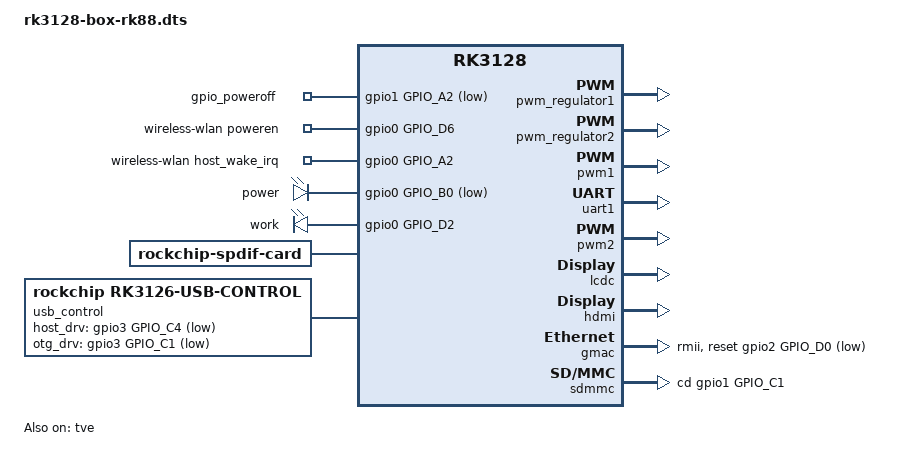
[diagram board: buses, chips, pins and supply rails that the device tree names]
/dts-v1/;

#include "rk3128.dtsi"
#include "rk312x-sdk.dtsi"
#include "lcd-box.dtsi"
#include <dt-bindings/input/input.h>

/ {
	 compatible = "rockchip,rk3128";

	 gpio_poweroff {
		compatible = "gpio-poweroff";
		gpios = <&gpio1 GPIO_A2 GPIO_ACTIVE_LOW>;
	};
	wireless-wlan {
		compatible = "wlan-platdata";

		/* wifi_chip_type - wifi chip define
		* bcmwifi ==> like ap6xxx, rk90x, ...;
		* rtkwifi ==> like rtl8188xx, rtl8723xx, ...;
		* esp8089 ==> esp8089;
		* other   ==> for other wifi;
		*/
		wifi_chip_type = "esp8089";
		sdio_vref = <0>; //1800mv or 3300mv

		//keep_wifi_power_on;
		//power_ctrl_by_pmu;
		//power_pmu_regulator = "act_ldo3";
		//power_pmu_enable_level = <1>; //1->HIGH, 0->LOW

		//vref_ctrl_enable;
		//vref_ctrl_gpio = <&gpio0 GPIO_A2 GPIO_ACTIVE_HIGH>;
		//vref_pmu_regulator = "act_ldo3";
		//vref_pmu_enable_level = <1>; //1->HIGH, 0->LOW

		WIFI,poweren_gpio = <&gpio0 GPIO_D6 GPIO_ACTIVE_HIGH>;
		WIFI,host_wake_irq = <&gpio0 GPIO_A2 GPIO_ACTIVE_HIGH>;
		//WIFI,reset_gpio = <&gpio0 GPIO_A2 GPIO_ACTIVE_LOW>;

		status = "okay";
	};

	wireless-bluetooth {
		compatible = "bluetooth-platdata";

		//wifi-bt-power-toggle;

		uart_rts_gpios = <&gpio1 GPIO_B3 GPIO_ACTIVE_LOW>;
		pinctrl-names = "default","rts_gpio";
		pinctrl-0 = <&uart1_rts>;
		pinctrl-1 = <&uart1_rts_gpio>;

		//BT,power_gpio = <&gpio4 GPIO_D3 GPIO_ACTIVE_HIGH>;
		BT,reset_gpio = <&gpio3 GPIO_C5 GPIO_ACTIVE_HIGH>;
		BT,wake_gpio = <&gpio1 GPIO_B4 GPIO_ACTIVE_HIGH>;
		BT,wake_host_irq = <&gpio0 GPIO_C6 GPIO_ACTIVE_LOW>;

	        status = "disabled";
	};

	power-led {
		compatible = "gpio-leds";
		power {
			gpios = <&gpio0 GPIO_B0 GPIO_ACTIVE_LOW>;
			default-state = "on";
		};
		work {
			gpios = <&gpio0 GPIO_D2 GPIO_ACTIVE_HIGH>;
			default-state = "on";
		};
	};

	rockchip-spdif-card {
		compatible = "rockchip-spdif-card";
		dais {
			dai0 {
				audio-codec = <&codec_hdmi_spdif>;
				audio-controller = <&spdif>;
			};
		};
	};

	usb_control {
		compatible = "rockchip,rk3126-usb-control";
		host_drv_gpio = <&gpio3 GPIO_C4 GPIO_ACTIVE_LOW>;
		otg_drv_gpio = <&gpio3 GPIO_C1 GPIO_ACTIVE_LOW>;

		rockchip,remote_wakeup;
		rockchip,usb_irq_wakeup;
	};
		usb0: usb@10180000 {
		/*0 - Normal, 1 - Force Host, 2 - Force Device*/
		rockchip,usb-mode = <1>;
	};

	rockchip_suspend: rockchip_suspend {
                rockchip,ctrbits = <
                        (0
                        |RKPM_CTR_PWR_DMNS
                        |RKPM_CTR_GTCLKS
                        |RKPM_CTR_PLLS
                        //|RKPM_CTR_ARMOFF_LPMD
                        |RKPM_CTR_DDR
                        |RKPM_CTR_IDLESRAM_MD
                        |RKPM_CTR_DDR
                        //|RKPM_CTR_BUS_IDLE
			//|RKPM_CTR_VOLTS
			//|RKPM_CTR_VOL_PWM1
			//|RKPM_CTR_VOL_PWM2
                        )
                >;
               rockchip,pmic-suspend_gpios = <
                       0
                        >;
        };

};


	&clk_core_dvfs_table {
		operating-points = <
			/* KHz    uV */
			/*408000 1250000
			600000 1250000
			696000 1250000
			*/
			816000 1100000
			1008000 1200000
			1200000 1325000
			>;
			virt-temp-limit-1-cpu-busy = <
			/* target-temp	limit-freq */
				75	1008000
				85	1200000
				95	1200000
				100	1200000
				>;
			virt-temp-limit-2-cpu-busy = <
			/* target-temp	limit-freq */
				75	912000
				85	1008000
				95	1104000
				100	1200000
				>;
			virt-temp-limit-3-cpu-busy = <
			/* target-temp	limit-freq */
				75	816000
				85	912000
				95	100800
				100	110400
				>;
			virt-temp-limit-4-cpu-busy = <
			/* target-temp	limit-freq */
				75	696000
				85	816000
				95	912000
				100	100800
				>;
			temp-limit-enable = <1>;
			target-temp = <85>;
		status="okay";
	};

	&clk_gpu_dvfs_table {
		operating-points = <
			/* KHz    uV */
			200000 950000
			300000 975000
			400000 1075000
			>;
		status="okay";
	};

	&clk_ddr_dvfs_table {
		operating-points = <
			/* KHz    uV */
			200000 950000
			300000 950000
			400000 1000000
			533000 1200000
			>;

		freq-table = <
			/*status		freq(KHz)*/
			SYS_STATUS_NORMAL	533000
			SYS_STATUS_SUSPEND	200000
			/*
			SYS_STATUS_VIDEO_1080P  240000
			SYS_STATUS_VIDEO_4K     400000
			SYS_STATUS_PERFORMANCE  528000
			SYS_STATUS_DUALVIEW	400000
			SYS_STATUS_BOOST	324000
			SYS_STATUS_ISP		533000
			*/
			>;
		auto-freq-table = <
			240000
			324000
			396000
			528000
			>;
		auto-freq=<0>;
		status="okay";
	};

	&pwm_regulator1 {
		status = "okay";
	};

	&pwm_regulator2 {
		status = "okay";
	};

	&pwm1 {
		status = "okay";
	};

	&uart1{
		status = "okay";
		dma-names = "!tx", "!rx";
	pinctrl-0 = <&uart1_xfer &uart1_cts>;
};

&pwm2 {
	status = "okay";
};

&disp_timings {
	native-mode = <&timing1>;
};

&rk_screen {
	display-timings = <&disp_timings>;
};

&fb {
	rockchip,disp-mode = <NO_DUAL>;
	rockchip,disp-policy = <DISPLAY_POLICY_BOX>;
	rockchip,uboot-logo-on = <1>;
};

&lcdc {
	status = "okay";
	rockchip,fb-win-map = <FB0_WIN0_FB1_WIN1_FB2_WIN2>;
};

&hdmi {
        status = "okay";
};

&tve {
	status = "okay";
	test_mode = <0>;
};

&i2c2 {
	status = "disabled";
};

&spi0 {
	status = "disabled";
	max-freq = <48000000>;
	/*
	spi_test@00 {
		compatible = "rockchip,spi_test_bus0_cs0";
		reg = <0>;
		spi-max-frequency = <24000000>;
		//spi-cpha;
		//spi-cpol;
		poll_mode = <0>;
		type = <0>;
		enable_dma = <0>;

	};

	spi_test@01 {
	        compatible = "rockchip,spi_test_bus0_cs1";
	        reg = <1>;
	        spi-max-frequency = <24000000>;
	        spi-cpha;
		spi-cpol;
	        poll_mode = <0>;
	        type = <0>;
		enable_dma = <0>;
	};
	*/
};

&gmac_clkin {
	clock-frequency = <50000000>;
};
&gmac {
	//pmu_regulator = "act_ldo5";
	//pmu_enable_level = <1>; //1->HIGH, 0->LOW
	//power-gpio = <&gpio0 GPIO_A6 GPIO_ACTIVE_HIGH>;
	reset-gpio = <&gpio2 GPIO_D0 GPIO_ACTIVE_LOW>;
	phy-mode = "rmii";
	clock_in_out = "output";
	tx_delay = <0x30>;
	rx_delay = <0x10>;
};

&codec {
	spk_ctl_io = <&gpio1 GPIO_A3 GPIO_ACTIVE_HIGH>;
	spk-mute-delay = <200>;
	hp-mute-delay = <100>;
	rk312x_for_mid = <0>;
	is_rk3128 = <0>;
	spk_volume = <25>;
	hp_volume = <25>;
	capture_volume = <26>;
	gpio_debug = <1>;
	codec_hp_det = <0>;
};

&dwc_control_usb {
	usb_uart {
		status = "disabled";
	};
};

&sdmmc {
        status = "okay";
	cd-gpios = <&gpio1 GPIO_C1 GPIO_ACTIVE_HIGH>;/*CD GPIO*/
};

&remotectl {
	handle_cpu_id = <1>;
	ir_key1{
		rockchip,usercode = <0x4040>;
		rockchip,key_table =
			<0xf2	KEY_REPLY>,
			<0xba	KEY_BACK>,
			<0xf4	KEY_UP>,
			<0xf1	KEY_DOWN>,
			<0xef	KEY_LEFT>,
			<0xee	KEY_RIGHT>,
			<0xbd	KEY_HOME>,
			<0xea	KEY_VOLUMEUP>,
			<0xe3	KEY_VOLUMEDOWN>,
			<0xe2	KEY_SEARCH>,
			<0xb2	KEY_POWER>,
			<0xbc	KEY_MUTE>,
			<0xec	KEY_MENU>,
			<0xbf	0x190>,
			<0xe0	0x191>,
			<0xe1	0x192>,
			<0xe9	183>,
			<0xe6	248>,
			<0xe8	185>,
			<0xe7	186>,
			<0xf0	388>,
			<0xbe	0x175>;
	};
	ir_key2{
		rockchip,usercode = <0xff00>;
		rockchip,key_table =
			<0xf9	KEY_HOME>,
			<0xbf	KEY_BACK>,
			<0xfb	KEY_MENU>,
			<0xaa	KEY_REPLY>,
			<0xb9	KEY_UP>,
			<0xe9	KEY_DOWN>,
			<0xb8	KEY_LEFT>,
			<0xea	KEY_RIGHT>,
			<0xeb	KEY_VOLUMEDOWN>,
			<0xef	KEY_VOLUMEUP>,
			<0xf7	KEY_MUTE>,
			<0xe7	KEY_POWER>,
			<0xfc	KEY_POWER>,
			<0xa9	KEY_VOLUMEDOWN>,
			<0xa8	KEY_VOLUMEDOWN>,
			<0xe0	KEY_VOLUMEDOWN>,
			<0xa5	KEY_VOLUMEDOWN>,
			<0xab	183>,
			<0xb7	388>,
			<0xf8	184>,
			<0xaf	185>,
			<0xed	KEY_VOLUMEDOWN>,
			<0xee	186>,
			<0xb3	KEY_VOLUMEDOWN>,
			<0xf1	KEY_VOLUMEDOWN>,
			<0xf2	KEY_VOLUMEDOWN>,
			<0xf3	KEY_SEARCH>,
			<0xb4	KEY_VOLUMEDOWN>,
			<0xbe	KEY_SEARCH>;
	};
	ir_key3{
		rockchip,usercode = <0x1dcc>;
		rockchip,key_table =
			<0xee	KEY_REPLY>,
			<0xf0	KEY_BACK>,
			<0xf8	KEY_UP>,
			<0xbb	KEY_DOWN>,
			<0xef	KEY_LEFT>,
			<0xed	KEY_RIGHT>,
			<0xfc	KEY_HOME>,
			<0xf1	KEY_VOLUMEUP>,
			<0xfd	KEY_VOLUMEDOWN>,
			<0xb7	KEY_SEARCH>,
			<0xff	KEY_POWER>,
			<0xf3	KEY_MUTE>,
			<0xbf	KEY_MENU>,
			<0xf9	0x191>,
			<0xf5	0x192>,
			<0xb3	388>,
			<0xbe	KEY_1>,
			<0xba	KEY_2>,
			<0xb2	KEY_3>,
			<0xbd	KEY_4>,
			<0xf9	KEY_5>,
			<0xb1	KEY_6>,
			<0xfc	KEY_7>,
			<0xf8	KEY_8>,
			<0xb0	KEY_9>,
			<0xb6	KEY_0>,
			<0xb5	KEY_BACKSPACE>;
	};
};
